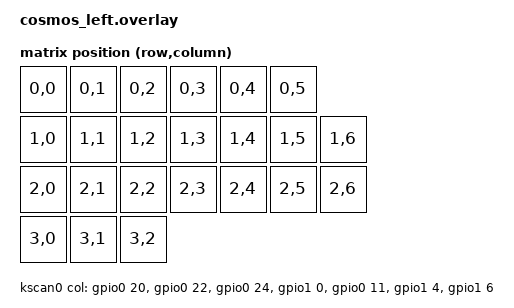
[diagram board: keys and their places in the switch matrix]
/*
 * Copyright (c) 2023 The ZMK Contributors
 *
 * SPDX-License-Identifier: MIT
 */

#include "cosmos.dtsi"

/ {
    chosen {
        zmk,matrix_transform = &left_transform;
    };

    left_transform: keymap_transform_0 {
        compatible = "zmk,matrix-transform";
        columns = <7>;
        rows = <4>;
        
        /*
         * This transform maps physical matrix positions (row, col) to logical keymap positions.
         * For the left half, these are:
         * - Row 0: Positions 0-5
         * - Row 1: Positions 0-6
         * - Row 2: Positions 0-6
         * - Row 3: Positions 0-2
         */
        map = <
            /* Row 0: 6 keys on left - positions 0-5 */
            RC(0,0) RC(0,1) RC(0,2) RC(0,3) RC(0,4) RC(0,5)
            
            /* Row 1: 7 keys on left - positions 0-6 */
            RC(1,0) RC(1,1) RC(1,2) RC(1,3) RC(1,4) RC(1,5) RC(1,6)
            
            /* Row 2: 7 keys on left - positions 0-6 */
            RC(2,0) RC(2,1) RC(2,2) RC(2,3) RC(2,4) RC(2,5) RC(2,6)
            
            /* Row 3: 3 keys on left - positions 0-2 */
            RC(3,0) RC(3,1) RC(3,2)
        >;
    };

    /* This uses the kscan0 defined in cosmos.dtsi but adds the col-gpios */
    kscan0: kscan_0 {
        col-gpios =
            <&gpio0 20 GPIO_ACTIVE_HIGH>, /* leftmost col to topmost pin */
            <&gpio0 22 GPIO_ACTIVE_HIGH>,
            <&gpio0 24 GPIO_ACTIVE_HIGH>,
            <&gpio1 0 GPIO_ACTIVE_HIGH>,
            <&gpio0 11 GPIO_ACTIVE_HIGH>,
            <&gpio1 4 GPIO_ACTIVE_HIGH>,
            <&gpio1 6 GPIO_ACTIVE_HIGH>;
    };
};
